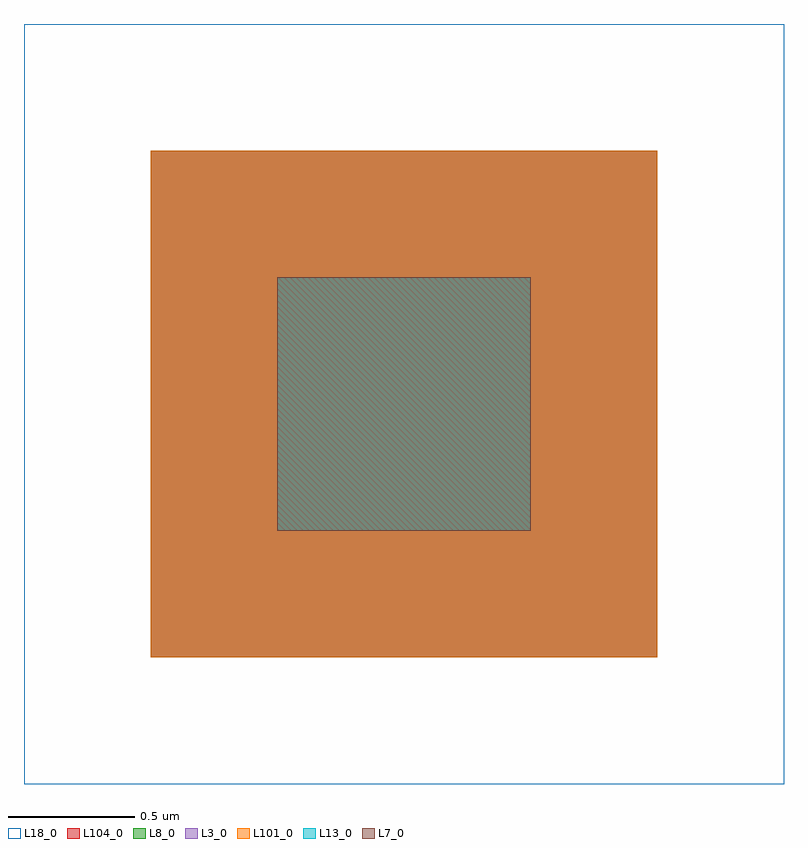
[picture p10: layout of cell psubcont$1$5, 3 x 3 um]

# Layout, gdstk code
import gdstk
lib = gdstk.Library(unit=1e-6, precision=1e-07)
def R(c, l, rs):  # rectangles x0, y0, x1, y1
    for r in rs: c.add(gdstk.rectangle(r[:2], r[2:], *l))
L3_0 = (3, 0)
L7_0 = (7, 0)
L8_0 = (8, 0)
L13_0 = (13, 0)
L18_0 = (18, 0)
L101_0 = (101, 0)
L104_0 = (104, 0)

dcont1_1_4 = lib.new_cell('dcont1$1$4')
R(dcont1_1_4, L3_0, [(-1,-1,1,1)])
R(dcont1_1_4, L7_0, [(-0.5,-0.5,0.5,0.5)])
R(dcont1_1_4, L8_0, [(-1,-1,1,1)])
R(dcont1_1_4, L13_0, [(-0.5,-0.5,0.5,0.5)])
R(dcont1_1_4, L101_0, [(-1,-1,1,1)])

psubcont_1_5 = lib.new_cell('psubcont$1$5')
R(psubcont_1_5, L18_0, [(-1.5,-1.5,1.5,1.5)])
R(psubcont_1_5, L104_0, [(-1,-1,1,1)])
psubcont_1_5.add(gdstk.Reference(dcont1_1_4, (0,0)))

lib.write_gds('psubcont_1_5.gds')
